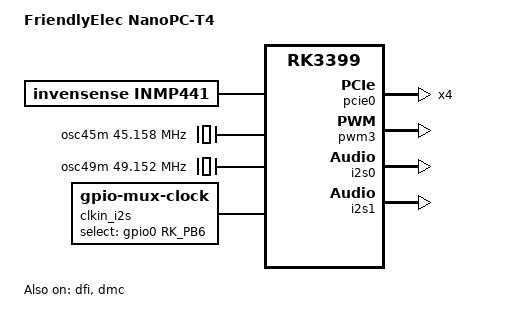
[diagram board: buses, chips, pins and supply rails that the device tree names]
// SPDX-License-Identifier: (GPL-2.0+ OR MIT)
/*
 * Copyright (c) 2020 FriendlyElec Computer Tech. Co., Ltd.
 * (http://www.friendlyarm.com)
 */

/dts-v1/;
#include <dt-bindings/gpio/gpio.h>
#include <dt-bindings/pinctrl/rockchip.h>
#include "rk3399-nanopi4-common.dtsi"

/ {
    model = "FriendlyElec NanoPC-T4";
    compatible = "friendlyelec,nanopc-t4", "rockchip,rk3399";

    sound {
        compatible = "simple-audio-card";
        simple-audio-card,name = "INMP441-Mic";
        simple-audio-card,format = "i2s";
        simple-audio-card,mclk-fs = <256>;
        status = "okay";

        simple-audio-card,cpu {
            sound-dai = <&i2s1>;
        };

        simple-audio-card,codec {
            sound-dai = <&inmp441>;
        };
    };

    inmp441: inmp441-codec {
        compatible = "invensense,inmp441";
        #sound-dai-cells = <0>;
        status = "okay";
    };

    /* 外部时钟输入，用于 I2S1 MCLK */
    osc45m: osc45m {
        compatible = "fixed-clock";
        #clock-cells = <0>;
        clock-frequency = <45158400>;
    };

    osc49m: osc49m {
        compatible = "fixed-clock";
        #clock-cells = <0>;
        clock-frequency = <49152000>;
    };

    clkin_i2s: clkin_i2s {
        compatible = "gpio-mux-clock";
        #clock-cells = <0>;
        clock-output-names = "clkin_i2s";
        clocks = <&osc45m>, <&osc49m>;
        select-gpios = <&gpio0 RK_PB6 GPIO_ACTIVE_HIGH>;
    };
};

&mach {
    hwrev = <0>;
    model = "NanoPC-T4";
};

&dfi {
    status = "okay";
};

&dmc {
    status = "okay";
    center-supply = <&vdd_center>;
    upthreshold = <40>;
    downdifferential = <20>;
    system-status-freq = <
        /*system status         freq(KHz)*/
        SYS_STATUS_NORMAL       800000
        SYS_STATUS_REBOOT       528000
        SYS_STATUS_SUSPEND      200000
        SYS_STATUS_VIDEO_1080P  200000
        SYS_STATUS_VIDEO_4K     600000
        SYS_STATUS_VIDEO_4K_10B 800000
        SYS_STATUS_PERFORMANCE  800000
        SYS_STATUS_BOOST        600000
        SYS_STATUS_DUALVIEW     600000
        SYS_STATUS_ISP          600000
    >;
    vop-bw-dmc-freq = <
        /* min_bw(MB/s) max_bw(MB/s) freq(KHz) */
        0       577      200000
        578     924      400000
        925     2075     600000
        2076    99999    800000
    >;
    auto-min-freq = <200000>;
    auto-freq-en = <1>;
};

&pcie0 {
    ep-gpios = <&gpio2 4 GPIO_ACTIVE_HIGH>;
    pinctrl-names = "default";
    pinctrl-0 = <&pcie_gpios>;
    num-lanes = <4>;
    max-link-speed = <2>;
};

&pwm3 {
    status = "okay";
};

&i2s0 {
    pinctrl-0 = <&i2s0_2ch_bus>;
    status = "okay";
};

&i2s1 {
    compatible = "rockchip,rk3399-i2s", "rockchip,rk3066-i2s";
    reg = <0x0 0xff890000 0x0 0x1000>;
    interrupts = <GIC_SPI 40 IRQ_TYPE_LEVEL_HIGH 0>;
    dmas = <&dmac_bus 2>, <&dmac_bus 3>;
    dma-names = "tx", "rx";
    clocks = <&cru SCLK_I2S1_8CH>, <&cru HCLK_I2S1_8CH>, <&clkin_i2s>;
    clock-names = "i2s_clk", "i2s_hclk", "i2s_mclk";
    resets = <&cru SRST_I2S1_8CH>, <&cru SRST_H_I2S1_8CH>;
    reset-names = "reset-m", "reset-h";
    pinctrl-names = "default";
    pinctrl-0 = <&i2s1_2ch_bus>;
    power-domains = <&power RK3399_PD_SDIOAUDIO>;
    rockchip,grf = <&grf>;
    rockchip,capture-channels = <2>;
    rockchip,playback-channels = <2>;
    #sound-dai-cells = <0>;
    status = "okay";
};

&i2s2 {
    status = "disabled"; /* 禁用 i2s2 以避免资源冲突 */
};

&pinctrl {
    i2s1 {
        i2s1_2ch_bus: i2s1-2ch-bus {
            rockchip,pins =
                <4 3 RK_FUNC_1 &pcfg_pull_none>, /* I2S1_SCLK */
                <4 4 RK_FUNC_1 &pcfg_pull_none>, /* I2S1_LRCK */
                <4 5 RK_FUNC_1 &pcfg_pull_none>, /* I2S1_SDI */
                <4 6 RK_FUNC_1 &pcfg_pull_none>, /* I2S1_SDO */
                <4 7 RK_FUNC_1 &pcfg_pull_none>; /* I2S1_MCLK */
        };
    };
};
